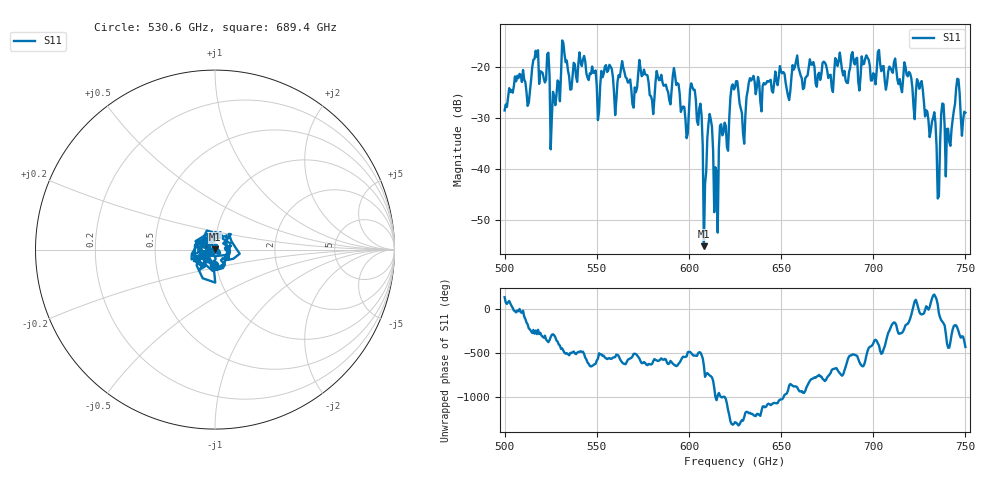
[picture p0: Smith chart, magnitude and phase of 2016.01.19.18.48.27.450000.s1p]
!Created with skrf (http://scikit-rf.org).
# GHz S RI R 50.0
!freq ReS11 ImS11
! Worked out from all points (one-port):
!   401 points, 500 GHz to 750 GHz, reference 50 ohm
!   lowest |S11| = -55.2 dB at 608.1 GHz (marker M1), VSWR 1.00, Z = 50 + j0.167 ohm
!   |S11| at or under -10 dB: start of sweep to end of sweep
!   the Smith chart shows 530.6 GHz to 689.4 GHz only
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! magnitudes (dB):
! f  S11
! 500 GHz  -28.5
! 513.1 GHz  -27.0
! 516.9 GHz  -16.7
! 523.1 GHz  -17.4
! 526.2 GHz  -24.8
! 531.2 GHz  -14.7
! 550.6 GHz  -30.4
! 562.5 GHz  -21.9
! 593.8 GHz  -23.1
! 598.8 GHz  -34.0
! 602.5 GHz  -24.4
! 606.2 GHz  -27.2
! 608.1 GHz  -55.2
! 611.2 GHz  -29.2
! 615 GHz  -40.6
! 617.5 GHz  -31.2
! 625 GHz  -24.0
! 629.4 GHz  -33.1
! 633.8 GHz  -22.6
! 656.2 GHz  -19.6
! 687.5 GHz  -20.1
! 718.8 GHz  -21.8
! 733.1 GHz  -28.9
! 735 GHz  -45.9
! 737.5 GHz  -27.1
! 740.6 GHz  -32.1
! 745.6 GHz  -22.3
! 750 GHz  -28.9
